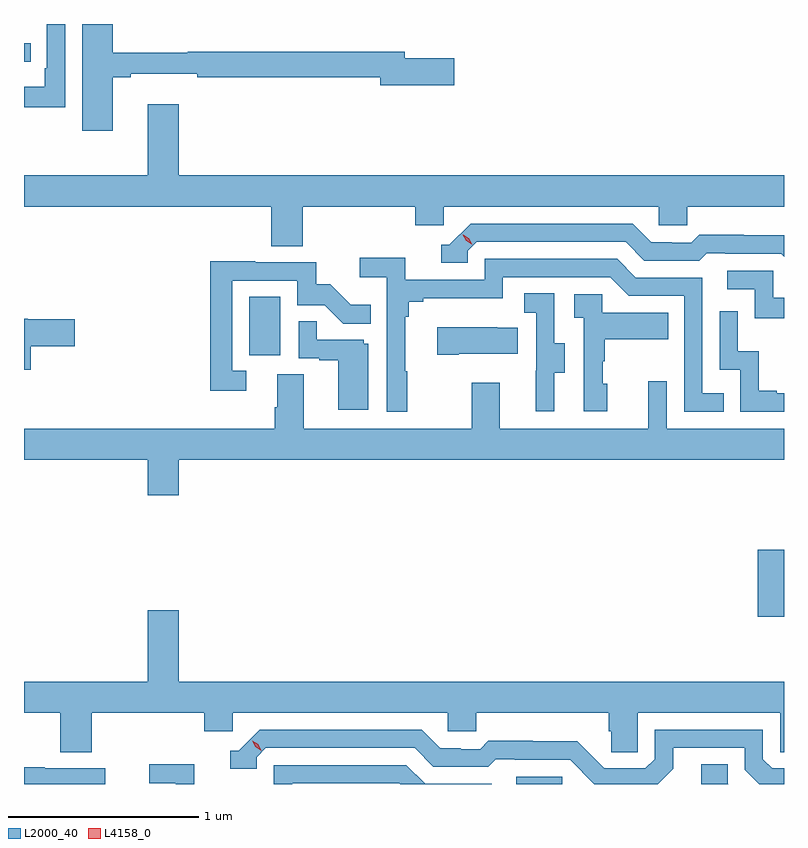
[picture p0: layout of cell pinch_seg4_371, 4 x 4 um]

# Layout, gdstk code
import gdstk
lib = gdstk.Library(unit=1e-6, precision=1e-09)
def R(c, l, rs):  # rectangles x0, y0, x1, y1
    for r in rs: c.add(gdstk.rectangle(r[:2], r[2:], *l))
def P(c, l, *ps):  # polygons
    for p in ps: c.add(gdstk.Polygon(p, *l))
L2000_40 = (2000, 40)
L4158_0 = (4158, 0)

pinch_seg4_371 = lib.new_cell('pinch_seg4_371')
R(pinch_seg4_371, L2000_40, [(982.131,767.141,982.374,767.178), (983.402,768.02,983.541,768.373), (980.726,769.398,980.89,769.705), (979.541,770.943,979.576,771.039)])
P(pinch_seg4_371, L2000_40, [(979.758,771.141),(979.662,771.141),(979.662,770.908),(979.649,770.908),(979.649,770.812),(979.541,770.812),(979.541,770.703),(979.758,770.703)],
  [(980.008,770.86),(980.104,770.86),(980.104,770.879),(980.452,770.879),(980.452,770.86),(981.416,770.86),(981.416,770.818),(981.805,770.818),(981.805,770.96),(981.544,770.96),(981.544,770.996),(980.404,770.996),(980.404,770.989),(980.008,770.989),(980.008,771.141),(979.847,771.141),(979.847,770.58),(980.008,770.58)],
  [(981.008,770.18),(981.599,770.18),(981.599,770.082),(981.75,770.082),(981.75,770.18),(982.881,770.18),(982.881,770.082),(983.031,770.082),(983.031,770.18),(983.541,770.18),(983.541,770.344),(980.356,770.344),(980.356,770.719),(980.192,770.719),(980.192,770.344),(979.541,770.344),(979.541,770.18),(980.843,770.18),(980.843,769.972),(981.008,769.972)],
  [(981.876,769.947),(981.924,769.995),(982.707,769.995),(982.806,769.896),(983.095,769.896),(983.134,769.935),(983.233,769.935),(983.233,769.932),(983.526,769.932),(983.541,769.917),(983.541,770.029),(983.328,770.029),(983.328,770.032),(983.095,770.032),(983.053,769.989),(982.95,769.989),(982.95,769.992),(982.843,769.992),(982.744,770.091),(981.891,770.091),(981.78,769.98),(981.737,769.98),(981.737,769.884),(981.876,769.884)],
  [(981.559,769.313),(981.547,769.313),(981.547,769.601),(981.566,769.601),(981.566,769.678),(981.643,769.678),(981.643,769.697),(982.062,769.697),(982.062,769.809),(982.626,769.809),(982.725,769.71),(983.016,769.71),(983.016,769.101),(983.225,769.101),(983.225,769.197),(983.112,769.197),(983.112,769.806),(982.762,769.806),(982.663,769.905),(981.966,769.905),(981.966,769.794),(981.548,769.794),(981.548,769.91),(981.309,769.91),(981.309,769.808),(981.45,769.808),(981.45,769.101),(981.559,769.101)],
  [(980.71,769.317),(980.637,769.317),(980.637,769.791),(980.979,769.791),(980.979,769.662),(981.123,769.662),(981.221,769.564),(981.365,769.564),(981.365,769.663),(981.261,769.663),(981.154,769.77),(981.078,769.77),(981.078,769.887),(980.759,769.887),(980.759,769.892),(980.521,769.892),(980.521,769.212),(980.71,769.212)],
  [(983.541,769.701),(983.484,769.701),(983.484,769.842),(983.241,769.842),(983.241,769.746),(983.388,769.746),(983.388,769.593),(983.541,769.593)],
  [(982.333,769.306),(982.387,769.306),(982.387,769.461),(982.332,769.461),(982.332,769.724),(982.173,769.724),(982.173,769.621),(982.236,769.621),(982.236,769.317),(982.235,769.317),(982.235,769.104),(982.333,769.104)],
  [(982.612,769.248),(982.587,769.248),(982.587,769.367),(982.597,769.367),(982.597,769.481),(982.931,769.481),(982.931,769.621),(982.584,769.621),(982.584,769.719),(982.437,769.719),(982.437,769.595),(982.488,769.595),(982.488,769.104),(982.612,769.104)],
  [(983.541,769.197),(983.503,769.197),(983.503,769.21),(983.408,769.21),(983.408,769.418),(983.298,769.418),(983.298,769.63),(983.202,769.63),(983.202,769.32),(983.31,769.32),(983.31,769.101),(983.541,769.101)],
  [(979.577,769.444),(979.807,769.444),(979.807,769.586),(979.56,769.586),(979.56,769.591),(979.541,769.591),(979.541,769.322),(979.577,769.322)],
  [(981.352,769.458),(981.33,769.458),(981.33,769.479),(981.083,769.479),(981.083,769.577),(980.988,769.577),(980.988,769.383),(981.095,769.383),(981.095,769.371),(981.194,769.371),(981.194,769.11),(981.352,769.11)],
  [(981.829,769.406),(982.139,769.406),(982.139,769.543),(982.031,769.543),(982.031,769.546),(981.717,769.546),(981.717,769.399),(981.829,769.399)],
  [(980.356,768.848),(983.541,768.848),(983.541,769.012),(982.923,769.012),(982.923,769.261),(982.826,769.261),(982.826,769.012),(982.045,769.012),(982.045,769.252),(981.898,769.252),(981.898,769.012),(981.013,769.012),(981.013,769.298),(980.873,769.298),(980.873,769.124),(980.861,769.124),(980.861,769.012),(979.541,769.012),(979.541,768.848),(980.192,768.848),(980.192,768.66),(980.356,768.66)],
  [(979.898,767.516),(980.489,767.516),(980.489,767.418),(980.64,767.418),(980.64,767.516),(981.771,767.516),(981.771,767.418),(981.921,767.418),(981.921,767.516),(982.619,767.516),(982.619,767.418),(982.633,767.418),(982.633,767.308),(982.77,767.308),(982.77,767.516),(983.52,767.516),(983.52,767.308),(983.541,767.308),(983.541,767.68),(980.356,767.68),(980.356,768.055),(980.192,768.055),(980.192,767.68),(979.541,767.68),(979.541,767.516),(979.733,767.516),(979.733,767.308),(979.898,767.308)],
  [(982.957,767.221),(982.957,767.331),(983.334,767.331),(983.334,767.217),(983.41,767.141),(983.541,767.141),(983.541,767.223),(983.478,767.223),(983.43,767.271),(983.43,767.427),(982.86,767.427),(982.86,767.271),(982.812,767.223),(982.596,767.223),(982.454,767.365),(982.218,767.365),(982.218,767.368),(981.985,767.368),(981.943,767.325),(981.84,767.325),(981.84,767.328),(981.733,767.328),(981.634,767.427),(980.781,767.427),(980.67,767.316),(980.627,767.316),(980.627,767.22),(980.766,767.22),(980.766,767.283),(980.814,767.331),(981.597,767.331),(981.696,767.232),(981.985,767.232),(982.024,767.271),(982.123,767.271),(982.123,767.268),(982.416,767.268),(982.543,767.141),(982.877,767.141)],
  [(983.245,767.144),(983.245,767.246),(983.105,767.246),(983.105,767.141),(983.248,767.141)],
  [(980.438,767.246),(980.199,767.246),(980.199,767.144),(980.34,767.144),(980.34,767.141),(980.438,767.141)],
  [(980.952,767.145),(981.516,767.145),(981.52,767.141),(982.002,767.141),(982.002,767.142),(981.652,767.142),(981.553,767.241),(980.856,767.241),(980.856,767.141),(980.952,767.141)],
  [(979.968,767.223),(979.649,767.223),(979.649,767.228),(979.541,767.228),(979.541,767.141),(979.968,767.141)])
P(pinch_seg4_371, L4158_0, [(981.899,769.98),(981.868,769.999),(981.851,770.032),(981.851,770.032),(981.852,770.032),(981.883,770.013),(981.899,769.98),(981.899,769.98)],
  [(980.79,767.317),(980.759,767.336),(980.743,767.369),(980.743,767.369),(980.743,767.369),(980.774,767.35),(980.79,767.317),(980.79,767.317)])

lib.write_gds('pinch_seg4_371.gds')
